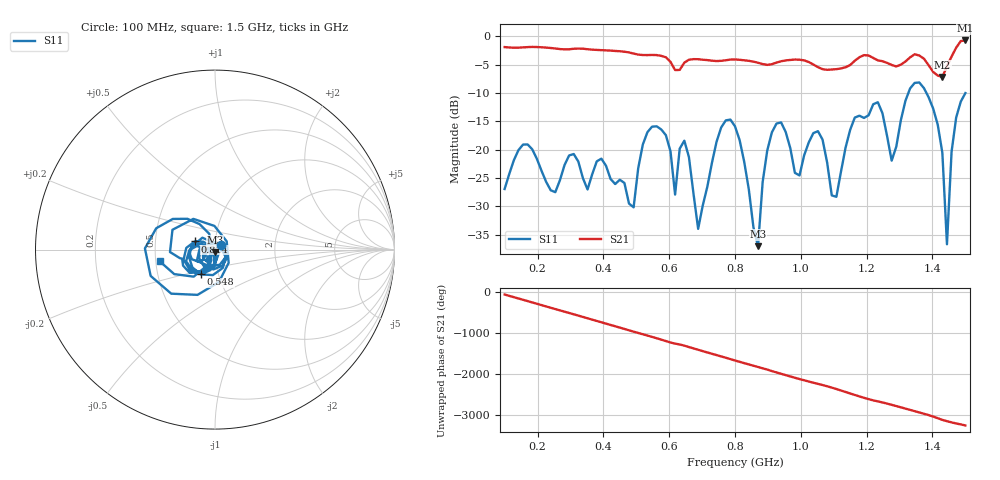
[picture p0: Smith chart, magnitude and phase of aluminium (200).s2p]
! NanoVNA-App
! Date: 2025-09-25 14:56:50
! Start: 100MHz Stop: 1,5GHz Points: 101
! S-Parameter data: F S11 S21 S12 S22
# Hz S RI R 50
!  Frequency  S11_Real  S11_Imag  S21_Real  S21_Imag  S12_Real  S12_Imag  S22_Real  S22_Imag
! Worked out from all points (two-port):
!   101 points, 100 MHz to 1.5 GHz, reference 50 ohm
!   highest |S21| = -0.75 dB at 1.5 GHz (marker M1); lowest = -7.2 dB at 1.43 GHz (marker M2)
!   |S21| within 3 dB of the highest: start of sweep to 590.6 MHz; 1.457 GHz to end of sweep (the widest 2 of 4)
!   lowest |S11| = -37.0 dB at 870 MHz (marker M3), VSWR 1.03, Z = 49.9 - j1.4 ohm
!   |S11| at or under -10 dB: start of sweep to 1.327 GHz; 1.381 GHz to end of sweep
!   S12 and S22 are empty: the file has one direction only
!   S11 on the Smith chart (normalised r, x): 100 MHz: 1.07, +0.06; 548 MHz: 0.82, -0.23; 814 MHz: 0.79, +0.07; 1.5 GHz: 0.53, -0.08
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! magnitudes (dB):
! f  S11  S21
! 100 MHz  -27.0  -1.9
! 338 MHz  -25.0  -2.2
! 492 MHz  -30.2  -3.1
! 548 MHz  -16.0  -3.3
! 576 MHz  -16.5  -3.5
! 618 MHz  -27.9  -6.0
! 646 MHz  -18.4  -4.7
! 688 MHz  -34.0  -4.1
! 800 MHz  -15.9  -4.1
! 814 MHz  -18.3  -4.2
! 870 MHz  -37.0  -4.7
! 912 MHz  -17.0  -4.9
! 996 MHz  -24.6  -4.1
! 1.038 GHz  -17.1  -5.0
! 1.094 GHz  -28.1  -5.9
! 1.22 GHz  -12.0  -3.8
! 1.276 GHz  -22.0  -5.1
! 1.346 GHz  -8.2  -3.2
! 1.43 GHz  -20.6  -7.2
! 1.444 GHz  -36.7  -5.3
! 1.458 GHz  -20.4  -3.6
! 1.5 GHz  -10.0  -0.8
